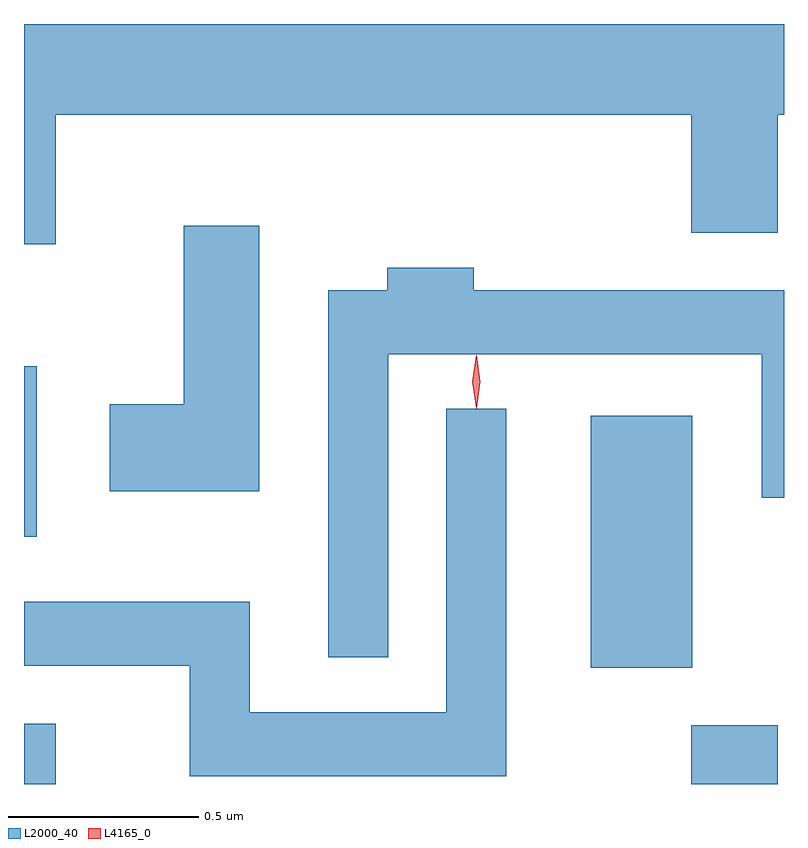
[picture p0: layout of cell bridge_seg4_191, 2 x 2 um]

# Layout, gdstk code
import gdstk
lib = gdstk.Library(unit=1e-6, precision=1e-09)
def R(c, l, rs):  # rectangles x0, y0, x1, y1
    for r in rs: c.add(gdstk.rectangle(r[:2], r[2:], *l))
def P(c, l, *ps):  # polygons
    for p in ps: c.add(gdstk.Polygon(p, *l))
L2000_40 = (2000, 40)
L4165_0 = (4165, 0)

bridge_seg4_191 = lib.new_cell('bridge_seg4_191')
R(bridge_seg4_191, L2000_40, [(1054.405,1306.295,1054.489,1306.454), (1056.161,1306.295,1056.389,1306.449), (1055.896,1306.601,1056.164,1307.264), (1054.405,1306.946,1054.439,1307.394)])
P(bridge_seg4_191, L2000_40, [(1054.489,1308.056),(1056.161,1308.056),(1056.161,1307.746),(1056.389,1307.746),(1056.389,1308.056),(1056.405,1308.056),(1056.405,1308.295),(1054.405,1308.295),(1054.405,1307.716),(1054.489,1307.716)],
  [(1055.024,1307.764),(1054.826,1307.764),(1054.826,1307.294),(1054.631,1307.294),(1054.631,1307.066),(1055.024,1307.066)],
  [(1055.364,1307.426),(1056.346,1307.426),(1056.346,1307.048),(1056.405,1307.048),(1056.405,1307.594),(1055.589,1307.594),(1055.589,1307.654),(1055.361,1307.654),(1055.361,1307.594),(1055.206,1307.594),(1055.206,1306.628),(1055.364,1306.628)],
  [(1055.674,1307.283),(1055.516,1307.283),(1055.516,1306.484),(1054.999,1306.484),(1054.999,1306.774),(1054.405,1306.774),(1054.405,1306.606),(1054.841,1306.606),(1054.841,1306.316),(1055.674,1306.316)])
P(bridge_seg4_191, L4165_0, [(1055.596,1307.287),(1055.596,1307.288),(1055.586,1307.354),(1055.596,1307.42),(1055.596,1307.421),(1055.597,1307.42),(1055.606,1307.354),(1055.597,1307.288)],
  [(1055.595,1307.284),(1055.595,1307.284),(1055.585,1307.353),(1055.595,1307.423),(1055.595,1307.423),(1055.596,1307.423),(1055.605,1307.353),(1055.596,1307.284)])

lib.write_gds('bridge_seg4_191.gds')
